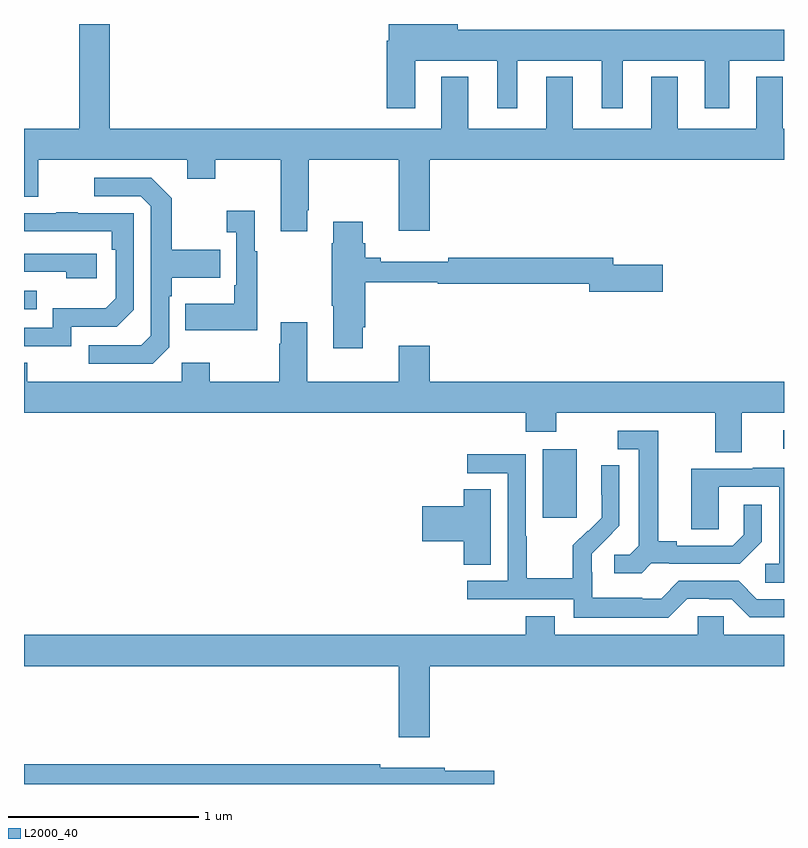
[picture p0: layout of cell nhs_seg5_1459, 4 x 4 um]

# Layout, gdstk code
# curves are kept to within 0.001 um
import gdstk
lib = gdstk.Library(unit=1e-6, precision=1e-09)
def R(c, l, rs):  # rectangles x0, y0, x1, y1
    for r in rs: c.add(gdstk.rectangle(r[:2], r[2:], *l))
def P(c, l, *ps):  # polygons
    for p in ps: c.add(gdstk.Polygon(p, *l))
L2000_40 = (2000, 40)

nhs_seg5_1459 = lib.new_cell('nhs_seg5_1459')
R(nhs_seg5_1459, L2000_40, [(201.731,864.201,201.91,864.562), (202.995,864.564,203,864.66), (199,865.299,199.067,865.395)])
P(nhs_seg5_1459, L2000_40, [(203,866.248),(202.993,866.248),(202.993,866.521),(202.853,866.521),(202.853,866.248),(202.441,866.248),(202.441,866.521),(202.301,866.521),(202.301,866.248),(201.889,866.248),(201.889,866.521),(201.749,866.521),(201.749,866.248),(201.337,866.248),(201.337,866.521),(201.197,866.521),(201.197,866.248),(199.451,866.248),(199.451,866.799),(199.291,866.799),(199.291,866.248),(199,866.248),(199,865.89),(199.075,865.89),(199.075,866.084),(199.859,866.084),(199.859,865.985),(200.007,865.985),(200.007,866.084),(200.351,866.084),(200.351,865.707),(200.491,865.707),(200.491,865.819),(200.499,865.819),(200.499,866.084),(200.972,866.084),(200.972,865.71),(201.136,865.71),(201.136,866.084),(203,866.084)],
  [(201.058,866.606),(201.491,866.606),(201.491,866.355),(201.595,866.355),(201.595,866.606),(202.04,866.606),(202.04,866.355),(202.15,866.355),(202.15,866.606),(202.583,866.606),(202.583,866.355),(202.711,866.355),(202.711,866.606),(203,866.606),(203,866.77),(201.283,866.77),(201.283,866.799),(200.921,866.799),(200.921,866.71),(200.909,866.71),(200.909,866.355),(201.058,866.355)],
  [(199.764,865.098),(199.764,865.367),(199.777,865.367),(199.777,865.463),(200.033,865.463),(200.033,865.611),(199.777,865.611),(199.777,865.883),(199.671,865.989),(199.371,865.989),(199.371,865.893),(199.614,865.893),(199.668,865.839),(199.668,865.158),(199.617,865.107),(199.341,865.107),(199.341,865.011),(199.677,865.011)],
  [(200.227,865.603),(200.215,865.603),(200.215,865.816),(200.067,865.816),(200.067,865.703),(200.118,865.703),(200.118,865.423),(200.106,865.423),(200.106,865.327),(199.849,865.327),(199.849,865.187),(200.227,865.187)],
  [(199.248,865.206),(199.488,865.206),(199.578,865.296),(199.578,865.803),(199.283,865.803),(199.283,865.808),(199.171,865.808),(199.171,865.803),(199,865.803),(199,865.707),(199.462,865.707),(199.462,865.61),(199.482,865.61),(199.482,865.356),(199.429,865.303),(199.152,865.303),(199.152,865.2),(199,865.2),(199,865.104),(199.248,865.104)],
  [(200.782,865.204),(200.795,865.204),(200.795,865.44),(201.178,865.44),(201.178,865.432),(201.974,865.432),(201.974,865.39),(202.363,865.39),(202.363,865.532),(202.102,865.532),(202.102,865.568),(201.232,865.568),(201.232,865.549),(200.878,865.549),(200.878,865.568),(200.795,865.568),(200.795,865.646),(200.782,865.646),(200.782,865.759),(200.627,865.759),(200.627,865.646),(200.62,865.646),(200.62,865.315),(200.627,865.315),(200.627,865.092),(200.782,865.092)],
  [(199.384,865.59),(199,865.59),(199,865.494),(199.223,865.494),(199.223,865.46),(199.384,865.46)],
  [(202.777,864.752),(203,864.752),(203,864.916),(201.136,864.916),(201.136,865.105),(200.972,865.105),(200.972,864.916),(200.491,864.916),(200.491,865.228),(200.351,865.228),(200.351,865.115),(200.344,865.115),(200.344,864.916),(199.977,864.916),(199.977,865.015),(199.83,865.015),(199.83,864.916),(199.017,864.916),(199.017,865.015),(199,865.015),(199,864.752),(201.641,864.752),(201.641,864.653),(201.801,864.653),(201.801,864.752),(202.637,864.752),(202.637,864.544),(202.777,864.544)],
  [(202.302,863.961),(202.396,863.961),(202.396,863.958),(202.768,863.958),(202.884,864.074),(202.884,864.268),(202.787,864.268),(202.787,864.111),(202.73,864.054),(202.435,864.054),(202.435,864.077),(202.339,864.077),(202.339,864.657),(202.125,864.657),(202.125,864.561),(202.235,864.561),(202.235,864.053),(202.188,864.006),(202.107,864.006),(202.107,863.909),(202.25,863.909)],
  [(202.491,863.775),(202.607,863.775),(202.607,863.772),(202.725,863.772),(202.821,863.676),(203,863.676),(203,863.772),(202.857,863.772),(202.761,863.868),(202.446,863.868),(202.353,863.775),(202.253,863.775),(202.253,863.779),(201.99,863.779),(201.99,863.913),(201.988,863.913),(201.988,864.01),(202.134,864.158),(202.134,864.476),(202.038,864.476),(202.038,864.322),(202.04,864.322),(202.04,864.2),(201.969,864.129),(201.966,864.132),(201.889,864.055),(201.889,863.881),(201.645,863.881),(201.645,864.104),(201.642,864.104),(201.642,864.534),(201.333,864.534),(201.333,864.435),(201.546,864.435),(201.546,863.868),(201.333,863.868),(201.333,863.772),(201.894,863.772),(201.894,863.675),(202.391,863.675)],
  [(203,864.463),(202.835,864.463),(202.835,864.459),(202.511,864.459),(202.511,864.139),(202.656,864.139),(202.656,864.363),(202.974,864.363),(202.974,863.958),(202.902,863.958),(202.902,863.857),(203,863.857)],
  [(201.457,864.35),(201.314,864.35),(201.314,864.26),(201.096,864.26),(201.096,864.077),(201.314,864.077),(201.314,863.953),(201.457,863.953)],
  [(201.136,863.42),(203,863.42),(203,863.584),(202.683,863.584),(202.683,863.682),(202.545,863.682),(202.545,863.584),(201.793,863.584),(201.793,863.683),(201.641,863.683),(201.641,863.584),(199,863.584),(199,863.42),(200.972,863.42),(200.972,863.046),(201.136,863.046)],
  [(201.475,862.868),(201.214,862.868),(201.214,862.885),(200.876,862.885),(200.876,862.904),(199,862.904),(199,862.799),(201.475,862.799)])

lib.write_gds('nhs_seg5_1459.gds')
